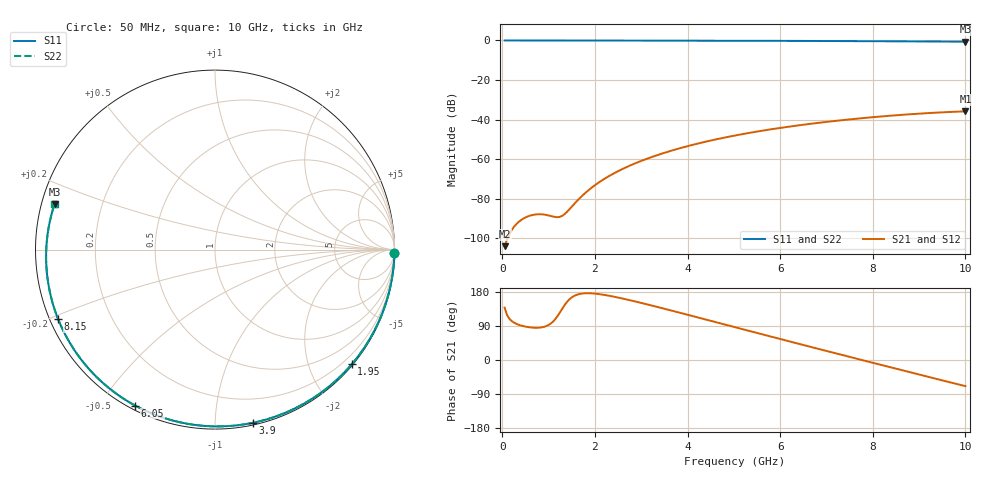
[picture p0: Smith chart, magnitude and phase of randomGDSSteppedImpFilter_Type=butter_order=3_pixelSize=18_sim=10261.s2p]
! freq	dB(S11)	phase(S11)	dB(S12)	phase(S12)
!  dB(S21)	phase(S21)	dB(S22)	phase(S22)
!S-par simulation data
#  GHz  S  DB  R 50
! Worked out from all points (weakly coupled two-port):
!   200 points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, 50 MHz to 10 GHz, reference 50 ohm
!   highest |S21| = -35.81 dB at 10 GHz (marker M1); lowest = -104.0 dB at 50 MHz (marker M2)
!   lowest |S11| = -0.6 dB at 10 GHz (marker M3), VSWR 27.27, Z = 1.87 + j6.93 ohm
!   |S11| at or under -10 dB: nowhere
!   |S22| runs from -0.6 to 0.0 dB; largest |S21 - S12| = 0
!   S11 on the Smith chart (normalised r, x): 50 MHz: open; 1.95 GHz: 0.02, -2.75; 3.9 GHz: 0.02, -1.24; 6.05 GHz: 0.02, -0.61; 8.15 GHz: 0.02, -0.21; 10 GHz: 0.04, +0.14
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0.05  -0.00 -1.0  -103.96 138.3  -103.96 138.3  -0.00 -1.0
0.8  -0.02 -16.6  -87.83 85.3  -87.83 85.3  -0.02 -16.6
1.65  -0.04 -34.0  -80.22 173.6  -80.22 173.6  -0.04 -34.0
1.75  -0.05 -36.0  -77.95 175.7  -77.95 175.7  -0.05 -36.0
1.95  -0.05 -40.0  -74.02 175.7  -74.02 175.7  -0.05 -40.0
2.25  -0.06 -46.0  -69.29 170.8  -69.29 170.8  -0.06 -46.0
2.6  -0.07 -52.9  -64.91 162.1  -64.91 162.1  -0.07 -52.9
3  -0.08 -60.6  -60.87 150.6  -60.87 150.6  -0.08 -60.6
3.4  -0.09 -68.3  -57.53 138.4  -57.53 138.4  -0.09 -68.3
3.9  -0.11 -77.8  -54.04 122.6  -54.04 122.6  -0.11 -77.8
4.45  -0.13 -88.0  -50.84 105.0  -50.84 105.0  -0.13 -88.0
5.05  -0.15 -99.0  -47.93 85.8  -47.93 85.8  -0.15 -99.0
5.55  -0.18 -108.1  -45.85 69.8  -45.85 69.8  -0.18 -108.1
6.05  -0.21 -117.1  -44.03 53.8  -44.03 53.8  -0.21 -117.1
6.7  -0.25 -128.9  -41.99 33.3  -41.99 33.3  -0.25 -128.9
7.45  -0.32 -142.7  -40.01 9.8  -40.01 9.8  -0.32 -142.7
8.15  -0.39 -156.0  -38.47 -12.0  -38.47 -12.0  -0.39 -156.0
8.35  -0.41 -159.9  -38.08 -18.2  -38.08 -18.2  -0.41 -159.9
8.8  -0.47 -169.0  -37.30 -32.2  -37.30 -32.2  -0.47 -169.0
9.2  -0.52 -177.5  -36.70 -44.5  -36.70 -44.5  -0.52 -177.5
9.6  -0.58 173.6  -36.21 -56.8  -36.21 -56.8  -0.58 173.6
10  -0.64 164.2  -35.81 -69.0  -35.81 -69.0  -0.64 164.2
